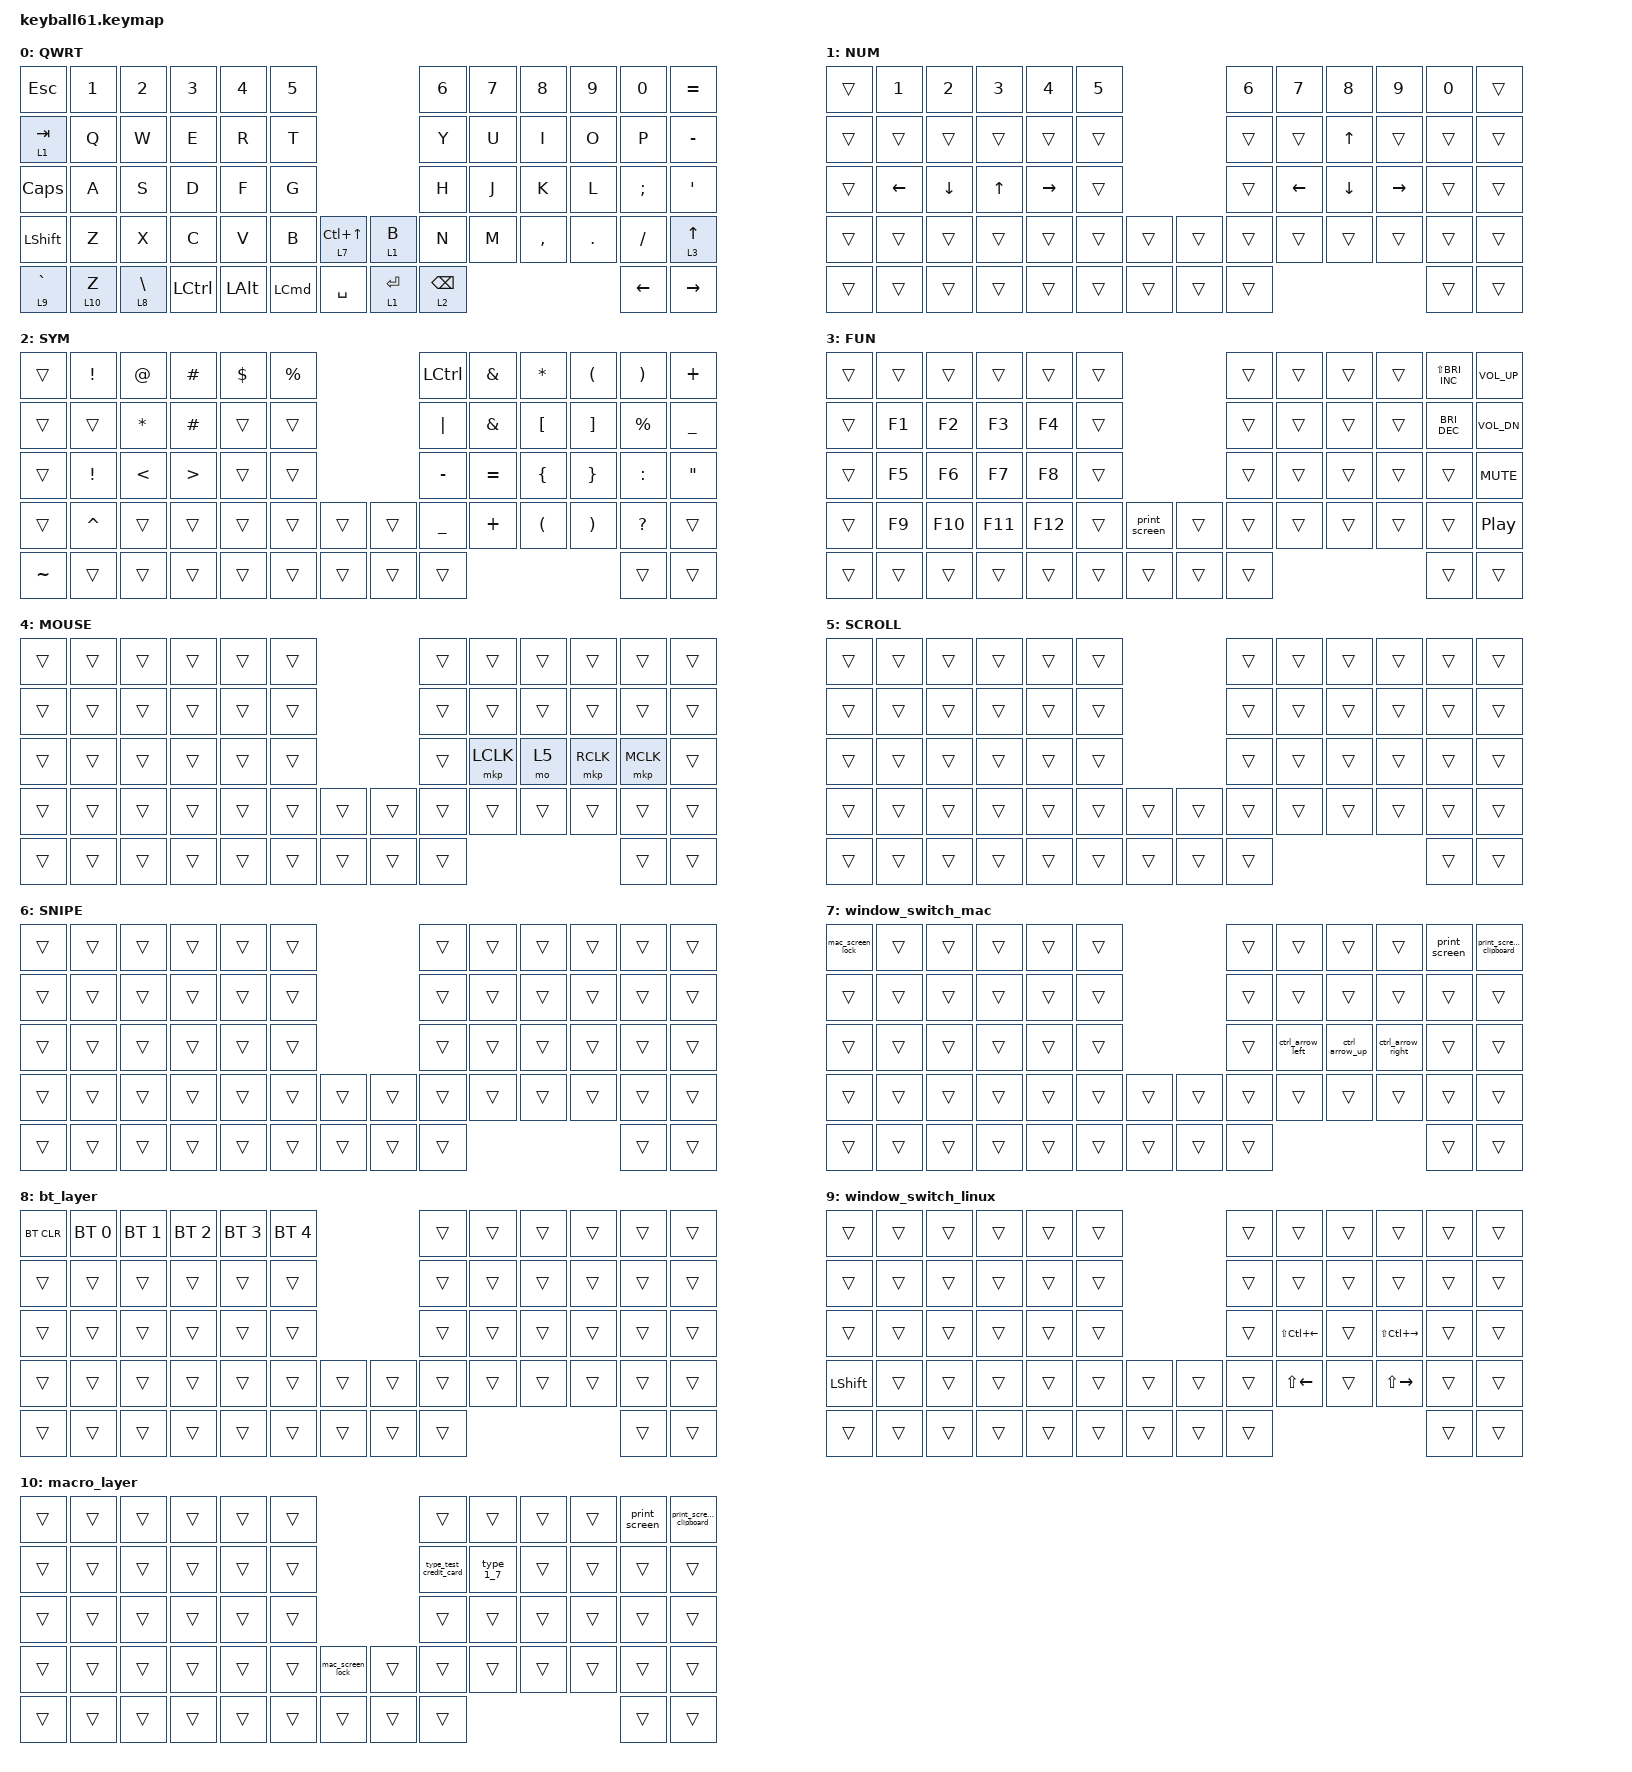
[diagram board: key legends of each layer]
#define DEFAULT 0
#define SYM     1
#define FUN     2
#define MOUSE   3
#define SCROLL  4
#define SNIPE   5

#include <behaviors/mouse_keys.dtsi>
#include <dt-bindings/zmk/mouse.h>
#include <behaviors.dtsi>
#include <dt-bindings/zmk/bt.h>
#include <dt-bindings/zmk/keys.h>
#include <dt-bindings/zmk/pointing.h>

&nice_view_spi { cs-gpios = <&pro_micro 1 GPIO_ACTIVE_HIGH>; };

&lt {
    tapping-term-ms = <240>;
    flavor = "balanced";
    quick-tap-ms = <150>;
};

&mt {
    tapping-term-ms = <200>;
    flavor = "tap-preferred";
    quick-tap-ms = <150>;
};

/ {
    combos {
        compatible = "zmk,combos";

        enter_combo {
            bindings = <&kp ENTER>;
            key-positions = <31 32>;
        };

        backspace {
            bindings = <&kp BACKSPACE>;
            key-positions = <32 33>;
        };
    };

    macros {
        ctrl_arrow_left: ctrl_arrow_left {
            compatible = "zmk,behavior-macro";
            #binding-cells = <0>;
            bindings =
                <&macro_press>,
                <&kp LEFT_CONTROL>,
                <&macro_tap>,
                <&kp LEFT_ARROW>,
                <&macro_release>,
                <&kp LEFT_CONTROL>;

            label = "CTRL_ARROW_LEFT";
        };

        ctrl_arrow_right: ctrl_arrow_right {
            compatible = "zmk,behavior-macro";
            #binding-cells = <0>;
            bindings =
                <&macro_press>,
                <&kp LEFT_CONTROL>,
                <&macro_tap>,
                <&kp RIGHT_ARROW>,
                <&macro_release>,
                <&kp LEFT_CONTROL>;

            label = "CTRL_ARROW_RIGHT";
        };

        ctrl_arrow_up: ctrl_arrow_up {
            compatible = "zmk,behavior-macro";
            #binding-cells = <0>;
            bindings =
                <&macro_press>,
                <&kp LEFT_CONTROL>,
                <&macro_tap>,
                <&kp UP_ARROW>,
                <&macro_release>,
                <&kp LEFT_CONTROL>;

            label = "CTRL_ARROW_UP";
        };

        ctrl_arrow_down: ctrl_arrow_down {
            compatible = "zmk,behavior-macro";
            #binding-cells = <0>;
            bindings =
                <&macro_press>,
                <&kp LEFT_CONTROL>,
                <&macro_tap>,
                <&kp DOWN_ARROW>,
                <&macro_release>,
                <&kp LEFT_CONTROL>;

            label = "CTRL_ARROW_DOWN";
        };

        mac_screen_lock: mac_screen_lock {
            compatible = "zmk,behavior-macro";
            #binding-cells = <0>;
            bindings =
                <&macro_press>,
                <&kp LEFT_CONTROL &kp LEFT_COMMAND>,
                <&macro_tap>,
                <&kp Q>,
                <&macro_release>,
                <&kp LEFT_CONTROL &kp LEFT_COMMAND>;

            label = "MAC_SCREEN_LOCK";
        };

        print_screen: print_screen {
            compatible = "zmk,behavior-macro";
            #binding-cells = <0>;
            bindings = <&kp LEFT_SHIFT &kp LEFT_COMMAND &kp NUMBER_4>;
            label = "PRINT_SCREEN";
        };

        type_test_credit_card: type_test_credit_card {
            compatible = "zmk,behavior-macro";
            #binding-cells = <0>;
            bindings = <&kp NUMBER_4 &kp NUMBER_7 &kp NUMBER_4 &kp NUMBER_7 &kp NUMBER_4 &kp NUMBER_7 &kp NUMBER_4 &kp NUMBER_7 &kp NUMBER_4 &kp NUMBER_7 &kp NUMBER_4 &kp NUMBER_7 &kp NUMBER_4 &kp NUMBER_7 &kp NUMBER_4 &kp NUMBER_7 &kp NUMBER_9 &kp NUMBER_9 &kp NUMBER_9 &kp NUMBER_9 &kp NUMBER_9 &kp NUMBER_9>;
            label = "TYPE_TEST_CREDIT_CARD";
            wait-ms = <30>;
        };

        type_1_7: type_1_7 {
            compatible = "zmk,behavior-macro";
            #binding-cells = <0>;
            bindings = <&kp NUMBER_1 &kp NUMBER_2 &kp NUMBER_3 &kp NUMBER_4 &kp NUMBER_5 &kp NUMBER_6 &kp N7>;
            label = "TYPE_1_7";
        };

        print_screen_clipboard: print_screen_clipboard {
            compatible = "zmk,behavior-macro";
            #binding-cells = <0>;
            bindings = <&kp LEFT_SHIFT &kp LCTRL &kp LEFT_COMMAND &kp NUMBER_4>;
            label = "PRINT_SCREEN_CLIPBOARD";
        };
    };

    keymap {
        compatible = "zmk,keymap";

        default_layer {
            label = "QWRT";
            bindings = <
&kp ESC         &kp N1    &kp N2           &kp N3            &kp N4        &kp N5                                             &kp N6           &kp N7  &kp N8     &kp N9   &kp N0          &kp EQUAL
&lt 1 TAB       &kp Q     &kp W            &kp E             &kp R         &kp T                                              &kp Y            &kp U   &kp I      &kp O    &kp P           &kp MINUS
&kp CAPS        &kp A     &kp S            &kp D             &kp F         &kp G                                              &kp H            &kp J   &kp K      &kp L    &kp SEMICOLON   &kp SQT
&kp LEFT_SHIFT  &kp Z     &kp X            &kp C             &kp V         &kp B             &lt 7 LC(UP_ARROW)  &lt 1 B      &kp N            &kp M   &kp COMMA  &kp DOT  &kp SLASH       &lt 3 UP_ARROW
&lt 9 GRAVE     &lt 10 Z  &lt 8 BACKSLASH  &kp LEFT_CONTROL  &kp LEFT_ALT  &kp LEFT_COMMAND  &kp SPACE           &lt 1 ENTER  &lt 2 BACKSPACE                              &kp LEFT_ARROW  &kp RIGHT_ARROW
            >;
        };

        number_layer {
            bindings = <
&trans  &kp N1    &kp N2    &kp N3  &kp N4     &kp N5                  &kp N6  &kp N7          &kp N8          &kp N9           &kp N0  &trans
&trans  &trans    &trans    &trans  &trans     &trans                  &trans  &trans          &kp UP_ARROW    &trans           &trans  &trans
&trans  &kp LEFT  &kp DOWN  &kp UP  &kp RIGHT  &trans                  &trans  &kp LEFT_ARROW  &kp DOWN_ARROW  &kp RIGHT_ARROW  &trans  &trans
&trans  &trans    &trans    &trans  &trans     &trans  &trans  &trans  &trans  &trans          &trans          &trans           &trans  &trans
&trans  &trans    &trans    &trans  &trans     &trans  &trans  &trans  &trans                                                   &trans  &trans
            >;

            label = "NUM";
        };

        symbol_layer {
            label = "SYM";
            bindings = <
&trans     &kp EXCLAMATION  &kp AT_SIGN    &kp HASH          &kp DOLLAR  &kp PERCENT                  &kp LCTRL       &kp AMPERSAND  &kp ASTERISK          &kp LEFT_PARENTHESIS   &kp RIGHT_PARENTHESIS  &kp PLUS
&trans     &trans           &kp ASTERISK   &kp HASH          &trans      &trans                       &kp PIPE        &kp AMPERSAND  &kp LEFT_BRACKET      &kp RIGHT_BRACKET      &kp PERCENT            &kp UNDERSCORE
&trans     &kp EXCLAMATION  &kp LESS_THAN  &kp GREATER_THAN  &trans      &trans                       &kp MINUS       &kp EQUAL      &kp LEFT_BRACE        &kp RIGHT_BRACE        &kp COLON              &kp DOUBLE_QUOTES
&trans     &kp CARET        &trans         &trans            &trans      &trans       &trans  &trans  &kp UNDERSCORE  &kp PLUS       &kp LEFT_PARENTHESIS  &kp RIGHT_PARENTHESIS  &kp QUESTION           &trans
&kp TILDE  &trans           &trans         &trans            &trans      &trans       &trans  &trans  &trans                                                                      &trans                 &trans
            >;
        };

        function_layer {
            label = "FUN";
            bindings = <
&trans  &trans  &trans   &trans   &trans   &trans                         &trans  &trans  &trans  &trans  &kp LS(C_BRIGHTNESS_INC)  &kp C_VOL_UP
&trans  &kp F1  &kp F2   &kp F3   &kp F4   &trans                         &trans  &trans  &trans  &trans  &kp C_BRIGHTNESS_DEC      &kp C_VOL_DN
&trans  &kp F5  &kp F6   &kp F7   &kp F8   &trans                         &trans  &trans  &trans  &trans  &trans                    &kp C_MUTE
&trans  &kp F9  &kp F10  &kp F11  &kp F12  &trans  &print_screen  &trans  &trans  &trans  &trans  &trans  &trans                    &kp C_PLAY_PAUSE
&trans  &trans  &trans   &trans   &trans   &trans  &trans         &trans  &trans                          &trans                    &trans
            >;
        };

        mouse_layer {
            label = "MOUSE";
            bindings = <
&trans  &trans  &trans  &trans  &trans  &trans                  &trans  &trans     &trans  &trans     &trans     &trans
&trans  &trans  &trans  &trans  &trans  &trans                  &trans  &trans     &trans  &trans     &trans     &trans
&trans  &trans  &trans  &trans  &trans  &trans                  &trans  &mkp LCLK  &mo 5   &mkp RCLK  &mkp MCLK  &trans
&trans  &trans  &trans  &trans  &trans  &trans  &trans  &trans  &trans  &trans     &trans  &trans     &trans     &trans
&trans  &trans  &trans  &trans  &trans  &trans  &trans  &trans  &trans                                &trans     &trans
            >;
        };

        scroll_layer {
            label = "SCROLL";
            bindings = <
&trans  &trans  &trans  &trans  &trans  &trans                  &trans  &trans  &trans  &trans  &trans  &trans
&trans  &trans  &trans  &trans  &trans  &trans                  &trans  &trans  &trans  &trans  &trans  &trans
&trans  &trans  &trans  &trans  &trans  &trans                  &trans  &trans  &trans  &trans  &trans  &trans
&trans  &trans  &trans  &trans  &trans  &trans  &trans  &trans  &trans  &trans  &trans  &trans  &trans  &trans
&trans  &trans  &trans  &trans  &trans  &trans  &trans  &trans  &trans                          &trans  &trans
            >;
        };

        snipe_layer {
            label = "SNIPE";
            bindings = <
&trans  &trans  &trans  &trans  &trans  &trans                  &trans  &trans  &trans  &trans  &trans  &trans
&trans  &trans  &trans  &trans  &trans  &trans                  &trans  &trans  &trans  &trans  &trans  &trans
&trans  &trans  &trans  &trans  &trans  &trans                  &trans  &trans  &trans  &trans  &trans  &trans
&trans  &trans  &trans  &trans  &trans  &trans  &trans  &trans  &trans  &trans  &trans  &trans  &trans  &trans
&trans  &trans  &trans  &trans  &trans  &trans  &trans  &trans  &trans                          &trans  &trans
            >;
        };

        window_switch_mac {
            bindings = <
&mac_screen_lock  &trans  &trans  &trans  &trans  &trans                  &trans  &trans            &trans          &trans             &print_screen  &print_screen_clipboard
&trans            &trans  &trans  &trans  &trans  &trans                  &trans  &trans            &trans          &trans             &trans         &trans
&trans            &trans  &trans  &trans  &trans  &trans                  &trans  &ctrl_arrow_left  &ctrl_arrow_up  &ctrl_arrow_right  &trans         &trans
&trans            &trans  &trans  &trans  &trans  &trans  &trans  &trans  &trans  &trans            &trans          &trans             &trans         &trans
&trans            &trans  &trans  &trans  &trans  &trans  &trans  &trans  &trans                                                       &trans         &trans
            >;
        };

        bt_layer {
            bindings = <
&bt BT_CLR  &bt BT_SEL 0  &bt BT_SEL 1  &bt BT_SEL 2  &bt BT_SEL 3  &bt BT_SEL 4                  &trans  &trans  &trans  &trans  &trans  &trans
&trans      &trans        &trans        &trans        &trans        &trans                        &trans  &trans  &trans  &trans  &trans  &trans
&trans      &trans        &trans        &trans        &trans        &trans                        &trans  &trans  &trans  &trans  &trans  &trans
&trans      &trans        &trans        &trans        &trans        &trans        &trans  &trans  &trans  &trans  &trans  &trans  &trans  &trans
&trans      &trans        &trans        &trans        &trans        &trans        &trans  &trans  &trans                          &trans  &trans
            >;
        };

        window_switch_linux {
            bindings = <
&trans          &trans  &trans  &trans  &trans  &trans                  &trans  &trans                  &trans  &trans               &trans  &trans
&trans          &trans  &trans  &trans  &trans  &trans                  &trans  &trans                  &trans  &trans               &trans  &trans
&trans          &trans  &trans  &trans  &trans  &trans                  &trans  &kp LS(LC(LEFT_ARROW))  &trans  &kp LS(LC(RIGHT))    &trans  &trans
&kp LEFT_SHIFT  &trans  &trans  &trans  &trans  &trans  &trans  &trans  &trans  &kp LS(LEFT_ARROW)      &trans  &kp LS(RIGHT_ARROW)  &trans  &trans
&trans          &trans  &trans  &trans  &trans  &trans  &trans  &trans  &trans                                                       &trans  &trans
            >;
        };

        macro_layer {
            bindings = <
&trans  &trans  &trans  &trans  &trans  &trans                            &trans                  &trans     &trans  &trans  &print_screen  &print_screen_clipboard
&trans  &trans  &trans  &trans  &trans  &trans                            &type_test_credit_card  &type_1_7  &trans  &trans  &trans         &trans
&trans  &trans  &trans  &trans  &trans  &trans                            &trans                  &trans     &trans  &trans  &trans         &trans
&trans  &trans  &trans  &trans  &trans  &trans  &mac_screen_lock  &trans  &trans                  &trans     &trans  &trans  &trans         &trans
&trans  &trans  &trans  &trans  &trans  &trans  &trans            &trans  &trans                                             &trans         &trans
            >;
        };
    };
};
